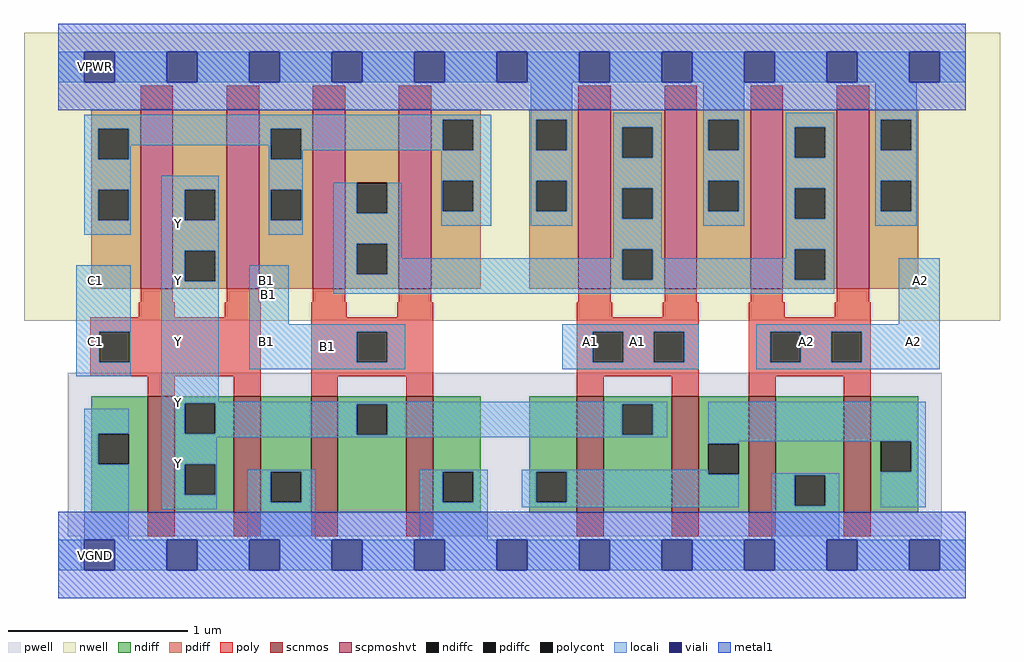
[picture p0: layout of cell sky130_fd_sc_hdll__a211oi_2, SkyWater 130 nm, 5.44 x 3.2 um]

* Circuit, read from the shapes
.subckt sky130_fd_sc_hdll__a211oi_2 A1 A2 B1 C1 VGND VNB VPB VPWR Y
XM1 Y C1 VGND VNB sky130_fd_pr__nfet_01v8 w=0.65 l=0.15 m=2
XM2 Y B1 VGND VNB sky130_fd_pr__nfet_01v8 w=0.65 l=0.15 m=2
XM3 Y A1 n1 VNB sky130_fd_pr__nfet_01v8 w=0.65 l=0.15 m=2
XM4 VGND A2 n1 VNB sky130_fd_pr__nfet_01v8 w=0.65 l=0.15 m=2
XM5 Y C1 n2 VPB sky130_fd_pr__pfet_01v8_hvt w=1 l=0.18 m=2
XM6 n3 B1 n2 VPB sky130_fd_pr__pfet_01v8_hvt w=1 l=0.18 m=2
XM7 n3 A1 VPWR VPB sky130_fd_pr__pfet_01v8_hvt w=1 l=0.18 m=2
XM8 n3 A2 VPWR VPB sky130_fd_pr__pfet_01v8_hvt w=1 l=0.18 m=2
.ends

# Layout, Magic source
magic
tech sky130A
magscale 1 2
<< nwell >>
rect -38 261 1050 582
<< pwell >>
rect 11 21 985 203
rect 25 -17 59 21
<< scnmos >>
rect 100 47 130 177
rect 196 47 226 177
rect 282 47 312 177
rect 388 47 418 177
rect 578 47 608 177
rect 684 47 714 177
rect 770 47 800 177
rect 876 47 906 177
<< scpmoshvt >>
rect 92 297 128 497
rect 188 297 224 497
rect 284 297 320 497
rect 380 297 416 497
rect 580 297 616 497
rect 676 297 712 497
rect 772 297 808 497
rect 868 297 904 497
<< ndiff >>
rect 37 135 100 177
rect 37 101 45 135
rect 79 101 100 135
rect 37 47 100 101
rect 130 169 196 177
rect 130 135 141 169
rect 175 135 196 169
rect 130 101 196 135
rect 130 67 141 101
rect 175 67 196 101
rect 130 47 196 67
rect 226 93 282 177
rect 226 59 237 93
rect 271 59 282 93
rect 226 47 282 59
rect 312 168 388 177
rect 312 134 333 168
rect 367 134 388 168
rect 312 47 388 134
rect 418 93 471 177
rect 418 59 429 93
rect 463 59 471 93
rect 418 47 471 59
rect 525 93 578 177
rect 525 59 533 93
rect 567 59 578 93
rect 525 47 578 59
rect 608 168 684 177
rect 608 134 629 168
rect 663 134 684 168
rect 608 47 684 134
rect 714 124 770 177
rect 714 90 725 124
rect 759 90 770 124
rect 714 47 770 90
rect 800 89 876 177
rect 800 55 821 89
rect 855 55 876 89
rect 800 47 876 55
rect 906 127 959 177
rect 906 93 917 127
rect 951 93 959 127
rect 906 47 959 93
<< pdiff >>
rect 37 475 92 497
rect 37 441 45 475
rect 79 441 92 475
rect 37 407 92 441
rect 37 373 45 407
rect 79 373 92 407
rect 37 297 92 373
rect 128 407 188 497
rect 128 373 141 407
rect 175 373 188 407
rect 128 339 188 373
rect 128 305 141 339
rect 175 305 188 339
rect 128 297 188 305
rect 224 475 284 497
rect 224 441 237 475
rect 271 441 284 475
rect 224 407 284 441
rect 224 373 237 407
rect 271 373 284 407
rect 224 297 284 373
rect 320 415 380 497
rect 320 381 333 415
rect 367 381 380 415
rect 320 347 380 381
rect 320 313 333 347
rect 367 313 380 347
rect 320 297 380 313
rect 416 485 471 497
rect 416 451 429 485
rect 463 451 471 485
rect 416 417 471 451
rect 416 383 429 417
rect 463 383 471 417
rect 416 297 471 383
rect 525 485 580 497
rect 525 451 533 485
rect 567 451 580 485
rect 525 417 580 451
rect 525 383 533 417
rect 567 383 580 417
rect 525 297 580 383
rect 616 477 676 497
rect 616 443 629 477
rect 663 443 676 477
rect 616 409 676 443
rect 616 375 629 409
rect 663 375 676 409
rect 616 341 676 375
rect 616 307 629 341
rect 663 307 676 341
rect 616 297 676 307
rect 712 485 772 497
rect 712 451 725 485
rect 759 451 772 485
rect 712 417 772 451
rect 712 383 725 417
rect 759 383 772 417
rect 712 297 772 383
rect 808 477 868 497
rect 808 443 821 477
rect 855 443 868 477
rect 808 409 868 443
rect 808 375 821 409
rect 855 375 868 409
rect 808 341 868 375
rect 808 307 821 341
rect 855 307 868 341
rect 808 297 868 307
rect 904 485 959 497
rect 904 451 917 485
rect 951 451 959 485
rect 904 417 959 451
rect 904 383 917 417
rect 951 383 959 417
rect 904 297 959 383
<< ndiffc >>
rect 45 101 79 135
rect 141 135 175 169
rect 141 67 175 101
rect 237 59 271 93
rect 333 134 367 168
rect 429 59 463 93
rect 533 59 567 93
rect 629 134 663 168
rect 725 90 759 124
rect 821 55 855 89
rect 917 93 951 127
<< pdiffc >>
rect 45 441 79 475
rect 45 373 79 407
rect 141 373 175 407
rect 141 305 175 339
rect 237 441 271 475
rect 237 373 271 407
rect 333 381 367 415
rect 333 313 367 347
rect 429 451 463 485
rect 429 383 463 417
rect 533 451 567 485
rect 533 383 567 417
rect 629 443 663 477
rect 629 375 663 409
rect 629 307 663 341
rect 725 451 759 485
rect 725 383 759 417
rect 821 443 855 477
rect 821 375 855 409
rect 821 307 855 341
rect 917 451 951 485
rect 917 383 951 417
<< poly >>
rect 92 497 128 523
rect 188 497 224 523
rect 284 497 320 523
rect 380 497 416 523
rect 580 497 616 523
rect 676 497 712 523
rect 772 497 808 523
rect 868 497 904 523
rect 92 282 128 297
rect 188 282 224 297
rect 284 282 320 297
rect 380 282 416 297
rect 580 282 616 297
rect 676 282 712 297
rect 772 282 808 297
rect 868 282 904 297
rect 90 265 130 282
rect 186 265 226 282
rect 36 249 226 265
rect 36 215 46 249
rect 80 215 226 249
rect 36 199 226 215
rect 100 177 130 199
rect 196 177 226 199
rect 282 265 322 282
rect 378 265 418 282
rect 282 249 418 265
rect 282 215 333 249
rect 367 215 418 249
rect 282 199 418 215
rect 282 177 312 199
rect 388 177 418 199
rect 578 265 618 282
rect 674 265 714 282
rect 578 249 714 265
rect 578 215 596 249
rect 630 215 664 249
rect 698 215 714 249
rect 578 199 714 215
rect 578 177 608 199
rect 684 177 714 199
rect 770 265 810 282
rect 866 265 906 282
rect 770 249 906 265
rect 770 215 794 249
rect 828 215 862 249
rect 896 215 906 249
rect 770 199 906 215
rect 770 177 800 199
rect 876 177 906 199
rect 100 21 130 47
rect 196 21 226 47
rect 282 21 312 47
rect 388 21 418 47
rect 578 21 608 47
rect 684 21 714 47
rect 770 21 800 47
rect 876 21 906 47
<< polycont >>
rect 46 215 80 249
rect 333 215 367 249
rect 596 215 630 249
rect 664 215 698 249
rect 794 215 828 249
rect 862 215 896 249
<< locali >>
rect 0 527 29 561
rect 63 527 121 561
rect 155 527 213 561
rect 247 527 305 561
rect 339 527 397 561
rect 431 527 489 561
rect 523 527 581 561
rect 615 527 673 561
rect 707 527 765 561
rect 799 527 857 561
rect 891 527 949 561
rect 983 527 1012 561
rect 29 485 483 491
rect 29 475 429 485
rect 29 441 45 475
rect 79 457 237 475
rect 79 441 81 457
rect 29 407 81 441
rect 235 441 237 457
rect 271 451 429 475
rect 463 451 483 485
rect 271 441 273 451
rect 29 373 45 407
rect 79 373 81 407
rect 29 357 81 373
rect 115 407 179 423
rect 115 373 141 407
rect 175 373 179 407
rect 115 339 179 373
rect 235 407 273 441
rect 427 417 483 451
rect 235 373 237 407
rect 271 373 273 407
rect 235 357 273 373
rect 307 381 333 415
rect 367 381 383 415
rect 20 249 81 323
rect 20 215 46 249
rect 80 215 81 249
rect 20 199 81 215
rect 115 305 141 339
rect 175 305 179 339
rect 307 347 383 381
rect 427 383 429 417
rect 463 383 483 417
rect 427 367 483 383
rect 527 485 573 527
rect 527 451 533 485
rect 567 451 573 485
rect 527 417 573 451
rect 527 383 533 417
rect 567 383 573 417
rect 527 367 573 383
rect 619 477 673 493
rect 619 443 629 477
rect 663 443 673 477
rect 619 409 673 443
rect 619 375 629 409
rect 663 375 673 409
rect 115 171 179 305
rect 213 257 257 323
rect 307 313 333 347
rect 367 331 383 347
rect 619 341 673 375
rect 719 485 765 527
rect 719 451 725 485
rect 759 451 765 485
rect 719 417 765 451
rect 719 383 725 417
rect 759 383 765 417
rect 719 367 765 383
rect 811 477 865 493
rect 811 443 821 477
rect 855 443 865 477
rect 811 409 865 443
rect 811 375 821 409
rect 855 375 865 409
rect 619 331 629 341
rect 367 313 629 331
rect 307 307 629 313
rect 663 331 673 341
rect 811 341 865 375
rect 911 485 957 527
rect 911 451 917 485
rect 951 451 957 485
rect 911 417 957 451
rect 911 383 917 417
rect 951 383 957 417
rect 911 367 957 383
rect 811 331 821 341
rect 663 307 821 331
rect 855 307 865 341
rect 307 291 865 307
rect 937 257 983 331
rect 213 249 387 257
rect 213 215 333 249
rect 367 215 387 249
rect 213 207 387 215
rect 562 249 714 257
rect 562 215 596 249
rect 630 215 664 249
rect 698 215 714 249
rect 562 207 714 215
rect 778 249 983 257
rect 778 215 794 249
rect 828 215 862 249
rect 896 215 983 249
rect 778 207 983 215
rect 115 169 679 171
rect 29 135 79 163
rect 29 101 45 135
rect 29 17 79 101
rect 115 135 141 169
rect 175 168 679 169
rect 175 135 333 168
rect 115 134 333 135
rect 367 134 629 168
rect 663 134 679 168
rect 115 131 679 134
rect 115 101 177 131
rect 115 67 141 101
rect 175 67 177 101
rect 725 127 967 171
rect 725 124 759 127
rect 115 51 177 67
rect 211 93 287 95
rect 211 59 237 93
rect 271 59 287 93
rect 211 17 287 59
rect 403 93 479 95
rect 403 59 429 93
rect 463 59 479 93
rect 403 17 479 59
rect 517 93 725 95
rect 517 59 533 93
rect 567 90 725 93
rect 951 93 967 127
rect 567 59 759 90
rect 517 53 759 59
rect 795 89 871 91
rect 795 55 821 89
rect 855 55 871 89
rect 795 17 871 55
rect 917 53 967 93
rect 0 -17 29 17
rect 63 -17 121 17
rect 155 -17 213 17
rect 247 -17 305 17
rect 339 -17 397 17
rect 431 -17 489 17
rect 523 -17 581 17
rect 615 -17 673 17
rect 707 -17 765 17
rect 799 -17 857 17
rect 891 -17 949 17
rect 983 -17 1012 17
<< viali >>
rect 29 527 63 561
rect 121 527 155 561
rect 213 527 247 561
rect 305 527 339 561
rect 397 527 431 561
rect 489 527 523 561
rect 581 527 615 561
rect 673 527 707 561
rect 765 527 799 561
rect 857 527 891 561
rect 949 527 983 561
rect 29 -17 63 17
rect 121 -17 155 17
rect 213 -17 247 17
rect 305 -17 339 17
rect 397 -17 431 17
rect 489 -17 523 17
rect 581 -17 615 17
rect 673 -17 707 17
rect 765 -17 799 17
rect 857 -17 891 17
rect 949 -17 983 17
<< metal1 >>
rect 0 561 1012 592
rect 0 527 29 561
rect 63 527 121 561
rect 155 527 213 561
rect 247 527 305 561
rect 339 527 397 561
rect 431 527 489 561
rect 523 527 581 561
rect 615 527 673 561
rect 707 527 765 561
rect 799 527 857 561
rect 891 527 949 561
rect 983 527 1012 561
rect 0 496 1012 527
rect 0 17 1012 48
rect 0 -17 29 17
rect 63 -17 121 17
rect 155 -17 213 17
rect 247 -17 305 17
rect 339 -17 397 17
rect 431 -17 489 17
rect 523 -17 581 17
rect 615 -17 673 17
rect 707 -17 765 17
rect 799 -17 857 17
rect 891 -17 949 17
rect 983 -17 1012 17
rect 0 -48 1012 -17
<< labels >>
flabel locali s 937 221 971 255 0 FreeSans 200 0 0 0 A2
port 2 nsew signal input
flabel locali s 25 221 59 255 0 FreeSans 200 0 0 0 C1
port 4 nsew signal input
flabel locali s 25 289 59 323 0 FreeSans 200 0 0 0 C1
port 4 nsew signal input
flabel locali s 213 257 257 323 0 FreeSans 200 0 0 0 B1
port 3 nsew signal input
flabel locali s 117 289 151 323 0 FreeSans 200 0 0 0 Y
port 9 nsew signal output
flabel locali s 117 349 151 391 0 FreeSans 200 0 0 0 Y
port 9 nsew signal output
flabel locali s 117 221 151 255 0 FreeSans 200 0 0 0 Y
port 9 nsew signal output
flabel locali s 117 153 151 187 0 FreeSans 200 0 0 0 Y
port 9 nsew signal output
flabel locali s 117 85 151 119 0 FreeSans 200 0 0 0 Y
port 9 nsew signal output
flabel locali s 577 221 611 255 0 FreeSans 200 0 0 0 A1
port 1 nsew signal input
flabel locali s 944 289 978 323 0 FreeSans 200 0 0 0 A2
port 2 nsew signal input
flabel locali s 646 238 646 238 0 FreeSans 200 0 0 0 A1
port 1 nsew
flabel locali s 215 221 249 255 0 FreeSans 200 0 0 0 B1
port 3 nsew
flabel locali s 834 238 834 238 0 FreeSans 200 0 0 0 A2
port 2 nsew
flabel locali s 215 289 249 323 0 FreeSans 200 0 0 0 B1
port 3 nsew
flabel metal1 s 25 527 59 561 0 FreeSans 200 0 0 0 VPWR
port 8 nsew power bidirectional
flabel metal1 s 25 -17 59 17 0 FreeSans 200 0 0 0 VGND
port 5 nsew ground bidirectional
flabel nwell s 25 527 59 561 0 FreeSans 200 0 0 0 VPB
port 7 nsew power bidirectional
flabel pwell s 25 -17 59 17 0 FreeSans 200 0 0 0 VNB
port 6 nsew ground bidirectional
rlabel comment s 0 0 0 0 4 a211oi_2
rlabel locali s 213 207 387 257 1 B1
port 3 nsew signal input
<< properties >>
string LEFsite unithd
string LEFclass CORE
string FIXED_BBOX 0 0 1012 544
string GDS_FILE $PDKPATH/libs.ref/sky130_fd_sc_hdll/gds/sky130_fd_sc_hdll.gds
string LEFsymmetry X Y R90
string GDS_END 286194
string GDS_START 277074
string LEFproperties maskLayoutSubType "abstract" prCellType "standard" originalViewName "layout"
<< end >>
